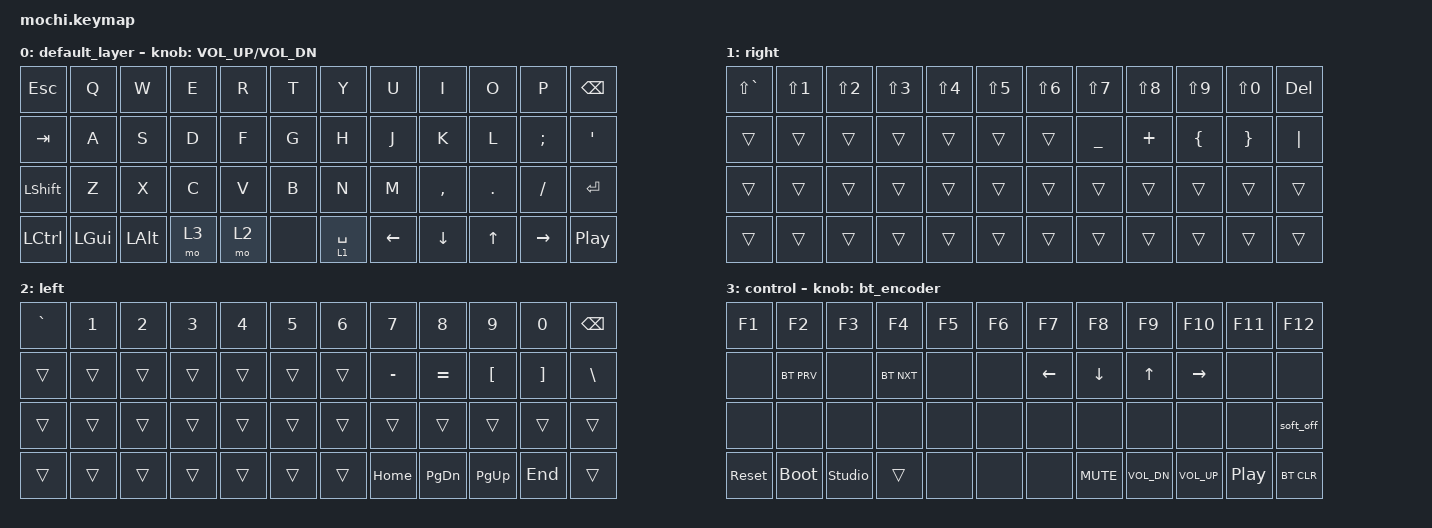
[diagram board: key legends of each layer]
/*
 * Aidan Smith (2021)
 * Updates by: weasnerb
 *
 * SPDX-License-Identifier: MIT
 */

#include <behaviors.dtsi>
#include <dt-bindings/zmk/keys.h>
#include <dt-bindings/zmk/bt.h>
#include <dt-bindings/zmk/ext_power.h>

&soft_off {
    hold-time-ms = <5000>; // Only turn off it the key is held for 5 seconds or longer.
};

/ {

	behaviors {
		bt_encoder: bt_encoder {
            compatible = "zmk,behavior-sensor-rotate";
            label = "BT_ENCODER";
            #sensor-binding-cells = <0>;
            bindings = <&bt BT_NXT>, <&bt BT_PRV>;
        };
    };

	keymap {
		compatible = "zmk,keymap";

		default_layer {
			bindings = <
				&kp ESC		&kp Q		&kp W		&kp E	&kp R	&kp T	&kp Y		&kp U		&kp I		&kp O	&kp P		&kp BSPC
				&kp TAB		&kp A		&kp S		&kp D	&kp F	&kp G	&kp H		&kp J		&kp K		&kp L	&kp SEMI	&kp SQT
				&kp LSHFT	&kp Z		&kp X		&kp C	&kp V	&kp B	&kp N		&kp M		&kp COMMA	&kp DOT	&kp FSLH	&kp RET
				&kp LCTL	&kp LGUI	&kp LALT	&mo 3	&mo 2	&none	&lt 1 SPACE	&kp LEFT	&kp DOWN	&kp UP	&kp RIGHT	&kp C_PP
			>;

			sensor-bindings = <&inc_dec_kp C_VOL_UP C_VOL_DN>;
		};

		// Layer 1
		// Long Tap of Right 2u Key (Space Bar)
		// @see https://zmk.dev/docs/behaviors/layers#layer-tap
		right {
			bindings = <
				&kp LS(GRAVE)	&kp LS(N1)	&kp LS(N2)	&kp LS(N3)	&kp LS(N4)	&kp LS(N5)	&kp LS(N6)	&kp LS(N7)	&kp LS(N8)	&kp LS(N9)	&kp LS(N0)	&kp DEL
				&trans			&trans 		&trans		&trans		&trans		&trans		&trans		&kp UNDER	&kp PLUS	&kp LBRC	&kp RBRC	&kp PIPE
				&trans			&trans		&trans		&trans		&trans		&trans		&trans		&trans		&trans		&trans		&trans		&trans
				&trans			&trans		&trans		&trans		&trans		&trans		&trans		&trans		&trans		&trans		&trans		&trans
			>;
		};

		// Layer 2
		// Momentary Layer of Left 2u Key
		// @see https://zmk.dev/docs/behaviors/layers#momentary-layer
		left {
			bindings = <
				&kp GRAVE	&kp N1	&kp N2	&kp N3	&kp N4	&kp N5	&kp N6	&kp N7		&kp N8		&kp N9		&kp N0		&kp BSPC
				&trans		&trans	&trans	&trans	&trans	&trans	&trans	&kp MINUS	&kp EQUAL	&kp LBKT	&kp RBKT	&kp BSLH
				&trans		&trans	&trans	&trans	&trans	&trans	&trans	&trans		&trans		&trans		&trans		&trans
				&trans		&trans	&trans	&trans	&trans	&trans	&trans	&kp HOME	&kp PG_DN	&kp PG_UP	&kp END		&trans
			>;
		};

		// Layer 3
		// Momentary Layer of Super Key (The Button to Left of the Left 2u Key)
		// @see https://zmk.dev/docs/behaviors/layers#layer-tap
		control {
			bindings = <
				&kp F1		&kp F2		&kp F3	&kp F4		&kp F5	&kp F6	&kp F7		&kp F8		&kp F9			&kp F10			&kp F11		&kp F12
				&none		&bt BT_PRV	&none	&bt BT_NXT	&none	&none 	&kp LEFT	&kp DOWN	&kp UP			&kp RIGHT		&none		&none
				&none		&none		&none	&none		&none	&none	&none		&none		&none			&none			&none		&soft_off
				&sys_reset	&bootloader	&studio_unlock	&trans		&none	&none	&none		&kp C_MUTE	&kp C_VOL_DN	&kp C_VOL_UP	&kp C_PP	&bt BT_CLR
			>;

			sensor-bindings = <&bt_encoder>;
		};
	};
};
